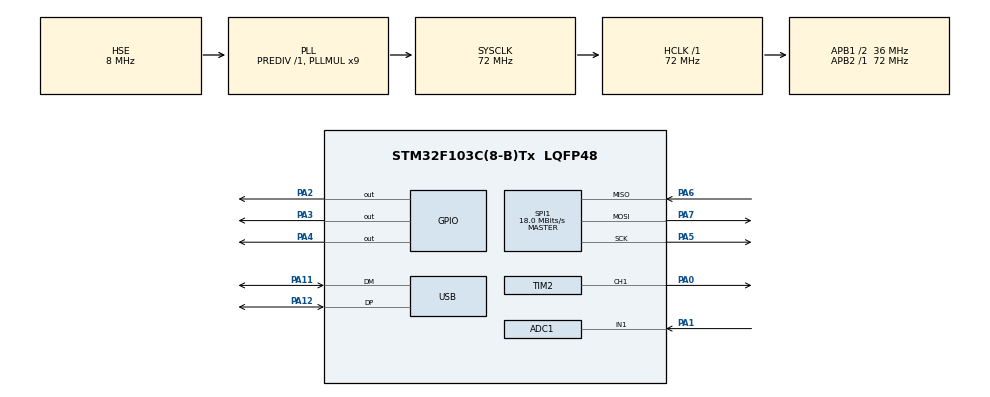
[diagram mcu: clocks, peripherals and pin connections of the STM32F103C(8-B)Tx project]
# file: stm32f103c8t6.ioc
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ADC1.Channel-0\#ChannelRegularConversion=ADC_CHANNEL_1
ADC1.NbrOfConversionFlag=1
ADC1.Rank-0\#ChannelRegularConversion=1
ADC1.SamplingTime-0\#ChannelRegularConversion=ADC_SAMPLETIME_1CYCLE_5
ADC1.master=1
Dma.Request0=SPI1_RX
Dma.Request1=SPI1_TX
Dma.SPI1_RX.0.Direction=DMA_PERIPH_TO_MEMORY
Dma.SPI1_RX.0.Instance=DMA1_Channel2
Dma.SPI1_RX.0.MemDataAlignment=DMA_MDATAALIGN_BYTE
Dma.SPI1_RX.0.MemInc=DMA_MINC_ENABLE
Dma.SPI1_RX.0.Mode=DMA_NORMAL
Dma.SPI1_RX.0.PeriphDataAlignment=DMA_PDATAALIGN_BYTE
Dma.SPI1_RX.0.PeriphInc=DMA_PINC_DISABLE
Dma.SPI1_RX.0.Priority=DMA_PRIORITY_LOW
Dma.SPI1_TX.1.Direction=DMA_MEMORY_TO_PERIPH
Dma.SPI1_TX.1.Instance=DMA1_Channel3
Dma.SPI1_TX.1.MemDataAlignment=DMA_MDATAALIGN_BYTE
Dma.SPI1_TX.1.MemInc=DMA_MINC_ENABLE
Dma.SPI1_TX.1.Mode=DMA_NORMAL
Dma.SPI1_TX.1.PeriphDataAlignment=DMA_PDATAALIGN_BYTE
Dma.SPI1_TX.1.PeriphInc=DMA_PINC_DISABLE
Dma.SPI1_TX.1.Priority=DMA_PRIORITY_LOW
Mcu.Family=STM32F1
Mcu.Name=STM32F103C(8-B)Tx
Mcu.Package=LQFP48
NVIC.DMA1_Channel2_IRQn=true\:0\:0\:false\:false\:true
NVIC.DMA1_Channel3_IRQn=true\:0\:0\:false\:false\:true
NVIC.PriorityGroup=NVIC_PRIORITYGROUP_4
NVIC.SPI1_IRQn=true\:0\:0\:false\:false\:true
NVIC.TIM3_IRQn=true\:0\:0\:false\:false\:true
NVIC.TIM4_IRQn=true\:0\:0\:false\:false\:true
NVIC.USB_LP_CAN1_RX0_IRQn=true\:0\:0\:false\:false\:true
PA0-WKUP.GPIO_Speed=GPIO_SPEED_FREQ_HIGH
PA0-WKUP.Signal=S_TIM2_CH1_ETR
PA1.Signal=ADCx_IN1
PA11.Mode=Device
PA11.Signal=USB_DM
PA12.Mode=Device
PA12.Signal=USB_DP
PA13.Mode=Serial_Wire
PA13.Signal=SYS_JTMS-SWDIO
PA14.Mode=Serial_Wire
PA14.Signal=SYS_JTCK-SWCLK
PA2.Signal=GPIO_Output
PA3.Signal=GPIO_Output
PA4.GPIO_Speed=GPIO_SPEED_FREQ_MEDIUM
PA4.PinState=GPIO_PIN_RESET
PA4.Signal=GPIO_Output
PA5.Mode=Full_Duplex_Master
PA5.Signal=SPI1_SCK
PA6.Mode=Full_Duplex_Master
PA6.Signal=SPI1_MISO
PA7.Mode=Full_Duplex_Master
PA7.Signal=SPI1_MOSI
PD0-OSC_IN.Mode=HSE-External-Oscillator
PD0-OSC_IN.Signal=RCC_OSC_IN
PD1-OSC_OUT.Mode=HSE-External-Oscillator
PD1-OSC_OUT.Signal=RCC_OSC_OUT
ProjectManager.HeapSize=0x200
ProjectManager.StackSize=0x400
ProjectManager.TargetToolchain=SW4STM32
RCC.ADCPresc=RCC_ADCPCLK2_DIV6
RCC.AHBFreq_Value=72000000
RCC.APB1CLKDivider=RCC_HCLK_DIV2
RCC.APB1Freq_Value=36000000
RCC.APB1TimFreq_Value=72000000
RCC.APB2Freq_Value=72000000
RCC.APB2TimFreq_Value=72000000
RCC.HCLKFreq_Value=72000000
RCC.PLLMUL=RCC_PLL_MUL9
RCC.PLLSourceVirtual=RCC_PLLSOURCE_HSE
RCC.SYSCLKFreq_VALUE=72000000
RCC.SYSCLKSource=RCC_SYSCLKSOURCE_PLLCLK
RCC.USBFreq_Value=48000000
RCC.USBPrescaler=RCC_USBCLKSOURCE_PLL_DIV1_5
SH.ADCx_IN1.0=ADC1_IN1,IN1
SH.S_TIM2_CH1_ETR.0=TIM2_CH1,PWM Generation1 CH1
SPI1.BaudRatePrescaler=SPI_BAUDRATEPRESCALER_4
SPI1.CalculateBaudRate=18.0 MBits/s
SPI1.Direction=SPI_DIRECTION_2LINES
SPI1.Mode=SPI_MODE_MASTER
SPI1.VirtualType=VM_MASTER
TIM2.Channel-PWM\ Generation1\ CH1=TIM_CHANNEL_1
TIM2.Period=1880-1
TIM2.Pulse-PWM\ Generation1\ CH1=940
TIM3.Period=(500-1)
TIM3.Prescaler=(72-1)
TIM3.TIM_MasterOutputTrigger=TIM_TRGO_UPDATE
TIM3.TIM_MasterSlaveMode=TIM_MASTERSLAVEMODE_DISABLE
TIM4.Period=(1880-1)
TIM4.Prescaler=0
TIM4.TIM_MasterOutputTrigger=TIM_TRGO_OC1
USB_DEVICE.CLASS_NAME_FS=CDC
USB_DEVICE.VirtualMode=Cdc
USB_DEVICE.VirtualModeFS=Cdc_FS
VP_CRC_VS_CRC.Mode=CRC_Activate
VP_TIM2_VS_ClockSourceINT.Mode=Internal
VP_TIM3_VS_ClockSourceINT.Mode=Internal
VP_TIM4_VS_ClockSourceINT.Mode=Internal
VP_USB_DEVICE_VS_USB_DEVICE_CDC_FS.Mode=CDC_FS
board=stm32f103c8t6

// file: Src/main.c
/**
  ******************************************************************************
  * File Name          : main.c
  * Description        : Main program body
  ******************************************************************************
  * This notice applies to any and all portions of this file
  * that are not between comment pairs USER CODE BEGIN and
  * USER CODE END. Other portions of this file, whether
  * inserted by the user or by software development tools
  * are owned by their respective copyright owners.
  *
  * Copyright (c) 2017 STMicroelectronics International N.V.
  * All rights reserved.
  *
  * Redistribution and use in source and binary forms, with or without
  * modification, are permitted, provided that the following conditions are met:
  *
  * 1. Redistribution of source code must retain the above copyright notice,
  *    this list of conditions and the following disclaimer.
  * 2. Redistributions in binary form must reproduce the above copyright notice,
  *    this list of conditions and the following disclaimer in the documentation
  *    and/or other materials provided with the distribution.
  * 3. Neither the name of STMicroelectronics nor the names of other
  *    contributors to this software may be used to endorse or promote products
  *    derived from this software without specific written permission.
  * 4. This software, including modifications and/or derivative works of this
  *    software, must execute solely and exclusively on microcontroller or
  *    microprocessor devices manufactured by or for STMicroelectronics.
  * 5. Redistribution and use of this software other than as permitted under
  *    this license is void and will automatically terminate your rights under
  *    this license.
  *
  * THIS SOFTWARE IS PROVIDED BY STMICROELECTRONICS AND CONTRIBUTORS "AS IS"
  * AND ANY EXPRESS, IMPLIED OR STATUTORY WARRANTIES, INCLUDING, BUT NOT
  * LIMITED TO, THE IMPLIED WARRANTIES OF MERCHANTABILITY, FITNESS FOR A
  * PARTICULAR PURPOSE AND NON-INFRINGEMENT OF THIRD PARTY INTELLECTUAL PROPERTY
  * RIGHTS ARE DISCLAIMED TO THE FULLEST EXTENT PERMITTED BY LAW. IN NO EVENT
  * SHALL STMICROELECTRONICS OR CONTRIBUTORS BE LIABLE FOR ANY DIRECT, INDIRECT,
  * INCIDENTAL, SPECIAL, EXEMPLARY, OR CONSEQUENTIAL DAMAGES (INCLUDING, BUT NOT
  * LIMITED TO, PROCUREMENT OF SUBSTITUTE GOODS OR SERVICES; LOSS OF USE, DATA,
  * OR PROFITS; OR BUSINESS INTERRUPTION) HOWEVER CAUSED AND ON ANY THEORY OF
  * LIABILITY, WHETHER IN CONTRACT, STRICT LIABILITY, OR TORT (INCLUDING
  * NEGLIGENCE OR OTHERWISE) ARISING IN ANY WAY OUT OF THE USE OF THIS SOFTWARE,
  * EVEN IF ADVISED OF THE POSSIBILITY OF SUCH DAMAGE.
  *
  ******************************************************************************
  */
#include "main.h"
#include "stm32f1xx_hal.h"
#include "usb_device.h"

/* USER CODE BEGIN Includes */
#include "infrared.h"
#include "se8r01.h"
#include <stdbool.h>

#define USE_OLD_MAPPING 1
#include "common.h"

//#include <string>

/* USER CODE END Includes */

ADC_HandleTypeDef hadc1;

CRC_HandleTypeDef hcrc;

SPI_HandleTypeDef hspi1;
DMA_HandleTypeDef hdma_spi1_rx;
DMA_HandleTypeDef hdma_spi1_tx;

TIM_HandleTypeDef htim2;
TIM_HandleTypeDef htim3;
TIM_HandleTypeDef htim4;

/* USER CODE BEGIN PV */
/* Private variables ---------------------------------------------------------*/

// TODO: cleanup when done debugging
const bool _debug = true;
TIM_HandleTypeDef *const phtim_envelop = &htim3;
TIM_HandleTypeDef *const phtim_pwm = &htim2;
const uint32_t pwm_tim_channel = TIM_CHANNEL_1;
TIM_HandleTypeDef *const phtim_delay = &htim4;

/// interface with radio
extern NRF_Module default_module;
extern NRF_Module data_module;

extern RadioMessage tx_message;
extern RadioDevInfo radiodevinfo;
extern SensorData sensordata;

/* USER CODE END PV */

void SystemClock_Config(void);
static void MX_GPIO_Init(void);
static void MX_DMA_Init(void);
static void MX_CRC_Init(void);
static void MX_SPI1_Init(void);
static void MX_TIM3_Init(void);
static void MX_TIM4_Init(void);
static void MX_TIM2_Init(void);
static void MX_ADC1_Init(void);

void HAL_TIM_MspPostInit(TIM_HandleTypeDef *htim);

/* USER CODE BEGIN PFP */
/* Private function prototypes -----------------------------------------------*/
void IR_TIM_Init(TIM_HandleTypeDef *p_envelop, TIM_HandleTypeDef *p_pwm);

void test_stuff();

/* USER CODE END PFP */

/* USER CODE BEGIN 0 */

const char mode = 'r'; // 't'
/* USER CODE END 0 */

int main(void) {

  /* USER CODE BEGIN 1 */
  bool is_transmitter = (mode == 't');
  bool is_receiver = !is_transmitter;

  /* USER CODE END 1 */

  /* MCU
   * Configuration----------------------------------------------------------*/

  /* Reset of all peripherals, Initializes the Flash interface and the Systick.
   */
  HAL_Init();

  /* Configure the system clock */
  SystemClock_Config();

  /* Initialize all configured peripherals */
  MX_GPIO_Init();
  MX_DMA_Init();
  MX_CRC_Init();
  MX_SPI1_Init();
  MX_TIM3_Init();
  MX_TIM4_Init();
  MX_TIM2_Init();
  MX_ADC1_Init();
  MX_USB_DEVICE_Init();

  /* USER CODE BEGIN 2 */
  HAL_ADCEx_Calibration_Start(&hadc1);

  // TODO fix IR_TIM_Init function
  /// IR_TIM_Init(phtim_envelop, phtim_pwm);
  // init_beamer_channels_gpio();

  /*Configure GPIO pin Output Level */
  bool use_shiftreg = false;
  if (use_shiftreg) {
    configure_gpio_shiftreg();
  }

  bool use_radio = false;
  if (use_radio) {
    configure_gpio_radio();
    setup(&default_module);
  }
  // envelop
  /// HAL_TIM_Base_Start_IT(phtim_envelop);
  // pwm
  HAL_TIM_PWM_Start(phtim_pwm, TIM_CHANNEL_1);

  // TODO: this is requred. Refactor to avoid possible mistakes in the future
  // start usec delay timer
  HAL_TIM_Base_Start(phtim_delay);
  // TODO: make more clean TODOs in the future. What the heck is required?!

  /* USER CODE END 2 */

  /* Infinite loop */
  /* USER CODE BEGIN WHILE */
  // prepare buffer for sending over USB
  const char *helloworld_str = "hello world!\n";
  uint8_t buf[4] = {0};

  while (1) {

    // test_stuff();

    HAL_ADC_Start(&hadc1);
    while (HAL_ADC_PollForConversion(&hadc1, 100)) {
    }
    auto adc_val = HAL_ADC_GetValue(&hadc1);
    HAL_ADC_Stop(&hadc1);
    if (adc_val < 500) {
      int a = 0;
    }

    HAL_GPIO_TogglePin(LED_ONBOARD_Port, LED_ONBOARD_Pin);
    HAL_Delay(adc_val / 100);

    // auto str = std::to_string(adc_val).c_str();
    // CDC_Transmit_FS(&str, sizeof(str));

    /* USER CODE END WHILE */

  }
}

/** System Clock Configuration
*/
void SystemClock_Config(void) {

  RCC_OscInitTypeDef RCC_OscInitStruct;
  RCC_ClkInitTypeDef RCC_ClkInitStruct;
  RCC_PeriphCLKInitTypeDef PeriphClkInit;

  /**Initializes the CPU, AHB and APB busses clocks
  */
  RCC_OscInitStruct.OscillatorType = RCC_OSCILLATORTYPE_HSE;
  RCC_OscInitStruct.HSEState = RCC_HSE_ON;
  RCC_OscInitStruct.HSEPredivValue = RCC_HSE_PREDIV_DIV1;
  RCC_OscInitStruct.HSIState = RCC_HSI_ON;
  RCC_OscInitStruct.PLL.PLLState = RCC_PLL_ON;
  RCC_OscInitStruct.PLL.PLLSource = RCC_PLLSOURCE_HSE;
  RCC_OscInitStruct.PLL.PLLMUL = RCC_PLL_MUL9;
  if (HAL_RCC_OscConfig(&RCC_OscInitStruct) != HAL_OK) {
    _Error_Handler(__FILE__, __LINE__);
  }

  /**Initializes the CPU, AHB and APB busses clocks
  */
  RCC_ClkInitStruct.ClockType = RCC_CLOCKTYPE_HCLK | RCC_CLOCKTYPE_SYSCLK |
                                RCC_CLOCKTYPE_PCLK1 | RCC_CLOCKTYPE_PCLK2;
  RCC_ClkInitStruct.SYSCLKSource = RCC_SYSCLKSOURCE_PLLCLK;
  RCC_ClkInitStruct.AHBCLKDivider = RCC_SYSCLK_DIV1;
  RCC_ClkInitStruct.APB1CLKDivider = RCC_HCLK_DIV2;
  RCC_ClkInitStruct.APB2CLKDivider = RCC_HCLK_DIV1;

  if (HAL_RCC_ClockConfig(&RCC_ClkInitStruct, FLASH_LATENCY_2) != HAL_OK) {
    _Error_Handler(__FILE__, __LINE__);
  }

  PeriphClkInit.PeriphClockSelection = RCC_PERIPHCLK_ADC | RCC_PERIPHCLK_USB;
  PeriphClkInit.AdcClockSelection = RCC_ADCPCLK2_DIV6;
  PeriphClkInit.UsbClockSelection = RCC_USBCLKSOURCE_PLL_DIV1_5;
  if (HAL_RCCEx_PeriphCLKConfig(&PeriphClkInit) != HAL_OK) {
    _Error_Handler(__FILE__, __LINE__);
  }

  /**Configure the Systick interrupt time
  */
  HAL_SYSTICK_Config(HAL_RCC_GetHCLKFreq() / 1000);

  /**Configure the Systick
  */
  HAL_SYSTICK_CLKSourceConfig(SYSTICK_CLKSOURCE_HCLK);

  /* SysTick_IRQn interrupt configuration */
  HAL_NVIC_SetPriority(SysTick_IRQn, 0, 0);
}

/* ADC1 init function */
static void MX_ADC1_Init(void) {

  ADC_ChannelConfTypeDef sConfig;

  /**Common config
  */
  hadc1.Instance = ADC1;
  hadc1.Init.ScanConvMode = ADC_SCAN_DISABLE;
  hadc1.Init.ContinuousConvMode = DISABLE;
  hadc1.Init.DiscontinuousConvMode = DISABLE;
  hadc1.Init.ExternalTrigConv = ADC_SOFTWARE_START;
  hadc1.Init.DataAlign = ADC_DATAALIGN_RIGHT;
  hadc1.Init.NbrOfConversion = 1;
  if (HAL_ADC_Init(&hadc1) != HAL_OK) {
    _Error_Handler(__FILE__, __LINE__);
  }

  /**Configure Regular Channel
  */
  sConfig.Channel = ADC_CHANNEL_1;
  sConfig.Rank = 1;
  sConfig.SamplingTime = ADC_SAMPLETIME_1CYCLE_5;
  if (HAL_ADC_ConfigChannel(&hadc1, &sConfig) != HAL_OK) {
    _Error_Handler(__FILE__, __LINE__);
  }
}

/* CRC init function */
static void MX_CRC_Init(void) {

  hcrc.Instance = CRC;
  if (HAL_CRC_Init(&hcrc) != HAL_OK) {
    _Error_Handler(__FILE__, __LINE__);
  }
}

/* SPI1 init function */
static void MX_SPI1_Init(void) {

  hspi1.Instance = SPI1;
  hspi1.Init.Mode = SPI_MODE_MASTER;
  hspi1.Init.Direction = SPI_DIRECTION_2LINES;
  hspi1.Init.DataSize = SPI_DATASIZE_8BIT;
  hspi1.Init.CLKPolarity = SPI_POLARITY_LOW;
  hspi1.Init.CLKPhase = SPI_PHASE_1EDGE;
  hspi1.Init.NSS = SPI_NSS_SOFT;
  hspi1.Init.BaudRatePrescaler = SPI_BAUDRATEPRESCALER_4;
  hspi1.Init.FirstBit = SPI_FIRSTBIT_MSB;
  hspi1.Init.TIMode = SPI_TIMODE_DISABLE;
  hspi1.Init.CRCCalculation = SPI_CRCCALCULATION_DISABLE;
  hspi1.Init.CRCPolynomial = 10;
  if (HAL_SPI_Init(&hspi1) != HAL_OK) {
    _Error_Handler(__FILE__, __LINE__);
  }
}

/* TIM2 init function */
static void MX_TIM2_Init(void) {

  TIM_ClockConfigTypeDef sClockSourceConfig;
  TIM_MasterConfigTypeDef sMasterConfig;
  TIM_OC_InitTypeDef sConfigOC;

  htim2.Instance = TIM2;
  htim2.Init.Prescaler = 0;
  htim2.Init.CounterMode = TIM_COUNTERMODE_UP;
  htim2.Init.Period = 1880 - 1;
  htim2.Init.ClockDivision = TIM_CLOCKDIVISION_DIV1;
  if (HAL_TIM_Base_Init(&htim2) != HAL_OK) {
    _Error_Handler(__FILE__, __LINE__);
  }

  sClockSourceConfig.ClockSource = TIM_CLOCKSOURCE_INTERNAL;
  if (HAL_TIM_ConfigClockSource(&htim2, &sClockSourceConfig) != HAL_OK) {
    _Error_Handler(__FILE__, __LINE__);
  }

  if (HAL_TIM_PWM_Init(&htim2) != HAL_OK) {
    _Error_Handler(__FILE__, __LINE__);
  }

  sMasterConfig.MasterOutputTrigger = TIM_TRGO_RESET;
  sMasterConfig.MasterSlaveMode = TIM_MASTERSLAVEMODE_DISABLE;
  if (HAL_TIMEx_MasterConfigSynchronization(&htim2, &sMasterConfig) != HAL_OK) {
    _Error_Handler(__FILE__, __LINE__);
  }

  sConfigOC.OCMode = TIM_OCMODE_PWM1;
  sConfigOC.Pulse = 940;
  sConfigOC.OCPolarity = TIM_OCPOLARITY_HIGH;
  sConfigOC.OCFastMode = TIM_OCFAST_DISABLE;
  if (HAL_TIM_PWM_ConfigChannel(&htim2, &sConfigOC, TIM_CHANNEL_1) != HAL_OK) {
    _Error_Handler(__FILE__, __LINE__);
  }

  HAL_TIM_MspPostInit(&htim2);
}

/* TIM3 init function */
static void MX_TIM3_Init(void) {

  TIM_ClockConfigTypeDef sClockSourceConfig;
  TIM_MasterConfigTypeDef sMasterConfig;

  htim3.Instance = TIM3;
  htim3.Init.Prescaler = (72 - 1);
  htim3.Init.CounterMode = TIM_COUNTERMODE_UP;
  htim3.Init.Period = (500 - 1);
  htim3.Init.ClockDivision = TIM_CLOCKDIVISION_DIV1;
  if (HAL_TIM_Base_Init(&htim3) != HAL_OK) {
    _Error_Handler(__FILE__, __LINE__);
  }

  sClockSourceConfig.ClockSource = TIM_CLOCKSOURCE_INTERNAL;
  if (HAL_TIM_ConfigClockSource(&htim3, &sClockSourceConfig) != HAL_OK) {
    _Error_Handler(__FILE__, __LINE__);
  }

  sMasterConfig.MasterOutputTrigger = TIM_TRGO_UPDATE;
  sMasterConfig.MasterSlaveMode = TIM_MASTERSLAVEMODE_DISABLE;
  if (HAL_TIMEx_MasterConfigSynchronization(&htim3, &sMasterConfig) != HAL_OK) {
    _Error_Handler(__FILE__, __LINE__);
  }
}

/* TIM4 init function */
static void MX_TIM4_Init(void) {

  TIM_ClockConfigTypeDef sClockSourceConfig;
  TIM_MasterConfigTypeDef sMasterConfig;

  htim4.Instance = TIM4;
  htim4.Init.Prescaler = 0;
  htim4.Init.CounterMode = TIM_COUNTERMODE_UP;
  htim4.Init.Period = (1880 - 1);
  htim4.Init.ClockDivision = TIM_CLOCKDIVISION_DIV1;
  if (HAL_TIM_Base_Init(&htim4) != HAL_OK) {
    _Error_Handler(__FILE__, __LINE__);
  }

  sClockSourceConfig.ClockSource = TIM_CLOCKSOURCE_INTERNAL;
  if (HAL_TIM_ConfigClockSource(&htim4, &sClockSourceConfig) != HAL_OK) {
    _Error_Handler(__FILE__, __LINE__);
  }

  sMasterConfig.MasterOutputTrigger = TIM_TRGO_OC1;
  sMasterConfig.MasterSlaveMode = TIM_MASTERSLAVEMODE_DISABLE;
  if (HAL_TIMEx_MasterConfigSynchronization(&htim4, &sMasterConfig) != HAL_OK) {
    _Error_Handler(__FILE__, __LINE__);
  }
}

static void MX_DMA_Init(void) {
  /* DMA controller clock enable */
  __HAL_RCC_DMA1_CLK_ENABLE();

  /* DMA interrupt init */
  /* DMA1_Channel2_IRQn interrupt configuration */
  HAL_NVIC_SetPriority(DMA1_Channel2_IRQn, 0, 0);
  HAL_NVIC_EnableIRQ(DMA1_Channel2_IRQn);
  /* DMA1_Channel3_IRQn interrupt configuration */
  HAL_NVIC_SetPriority(DMA1_Channel3_IRQn, 0, 0);
  HAL_NVIC_EnableIRQ(DMA1_Channel3_IRQn);
}

/** Configure pins as
        * Analog
        * Input
        * Output
        * EVENT_OUT
        * EXTI
*/
static void MX_GPIO_Init(void) {

  GPIO_InitTypeDef GPIO_InitStruct;

  /* GPIO Ports Clock Enable */
  __HAL_RCC_GPIOD_CLK_ENABLE();
  __HAL_RCC_GPIOA_CLK_ENABLE();

  /*Configure GPIO pin Output Level */
  HAL_GPIO_WritePin(GPIOA, GPIO_PIN_2 | GPIO_PIN_3 | GPIO_PIN_4,
                    GPIO_PIN_RESET);

  /*Configure GPIO pins : PA2 PA3 */
  GPIO_InitStruct.Pin = GPIO_PIN_2 | GPIO_PIN_3;
  GPIO_InitStruct.Mode = GPIO_MODE_OUTPUT_PP;
  GPIO_InitStruct.Speed = GPIO_SPEED_FREQ_LOW;
  HAL_GPIO_Init(GPIOA, &GPIO_InitStruct);

  /*Configure GPIO pin : PA4 */
  GPIO_InitStruct.Pin = GPIO_PIN_4;
  GPIO_InitStruct.Mode = GPIO_MODE_OUTPUT_PP;
  GPIO_InitStruct.Speed = GPIO_SPEED_FREQ_MEDIUM;
  HAL_GPIO_Init(GPIOA, &GPIO_InitStruct);
}

/* USER CODE BEGIN 4 */

void IR_TIM_Init(TIM_HandleTypeDef *p_envelop, TIM_HandleTypeDef *p_pwm) {
  p_envelop->Init.Period = pwm_timer_period;
  HAL_TIM_Base_Init(p_envelop);

  p_pwm->Init.Prescaler = envelop_timer_prescaler;
  p_pwm->Init.Period = DataBitLength;
  HAL_TIM_Base_Init(p_pwm);
}

void test_stuff() {

  uint8_t led8_array[8] = {
      0b00000001, // 1
      0b00000010, // 2
      0b00000100, // 3
      0b00001000, // 4
      0b00010000, // 5
      0b00100000, // 6
      0b01000000, // 7
      0b10000000, // 8
  };
  uint16_t led16_array[16] = {
      0b0000000000000001, // 1
      0b0000000000000010, // 2
      0b0000000000000100, // 3
      0b0000000000001000, // 4
      0b0000000000010000, // 5
      0b0000000000100000, // 6
      0b0000000001000000, // 7
      0b0000000010000000, // 8
      0b0000000100000000, // 9
      0b0000001000000000, // 10
      0b0000010000000000, // 11
      0b0000100000000000, // 12
      0b0001000000000000, // 13
      0b0010000000000000, // 14
      0b0100000000000000, // 15
      0b1000000000000000, // 16
  };
  uint16_t led16_array_tmp[8] = {
      0b1010101010101010, // 1
      0b1001001001001001, // 2
      0b1000100010001000, // 3
      0b1000010000100001, // 4
      0b0000000000010000, // 5
      0b0000000000100000, // 6
      0b0000000001000000, // 7
      0b0000000010000000, // 8
  };
  uint8_t led_num = 0;
  uint16_t test_msg = 0b1010101010101010;

  /*
  /// check SPI module by reading status register from radio module
  uint8_t s_reg = iRF_BANK0_STATUS;
  uint8_t S = 0;
  HAL_GPIO_WritePin(NRF24_CSN1_Port, NRF24_CSN1_Pin, LOW);           // CSN low,
  initialize SPI communication...
  HAL_SPI_TransmitReceive_IT(&hspi1, &s_reg, &S, 1);
  uint8_t reg_val = HAL_SPI_TransmitReceive_IT(&hspi1, 0, &S, 1);
  HAL_GPIO_WritePin(NRF24_CSN1_Port, NRF24_CSN1_Pin, HIGH);          // CSN
  high, terminate SPI communication
    */

  /// test spi for shift register
  /// shiftreg_send_16bit_data(test_msg);
  /// HAL_Delay(10);

  /*
if(use_shiftreg)
  {
    if(led_num == 16)
      led_num = 0;
    else
      led_num++;
      shiftreg_send_16bit_data(led16_array[led_num]);
  }
  */
  for (int i = 0; i < 16; ++i) {
    shiftreg_send_16bit_data(led16_array[i]);
    HAL_Delay(10);
  }

/*
if(is_receiver && false){
    RXX(&default_module);// - this is called on IRQ
}
else{
      //=================== prepare message for sending
      // Determine source of packet
      radio_tx_set_message_header(WhoAmI_Beamer, Dest_Sensor, Typ_SensorData);

      BeamerData beamerdata;
      SingleBeamerData data;
      data.angle = 10;
      data.beamer_id = 12;
      for(int i = 0; i < MAX_BEAMERS_PER_SENSOR; ++i ){
          beamerdata.beamer_data_array[i] = data;
      }

      sensordata.sensor_id = data.beamer_id;
      set_sensordata_type (&sensordata, SDT_BeamerData);
      set_sensor_data_beamer (&sensordata, &beamerdata);

      radio_tx_set_sensordata(&sensordata);
      //=====================

      HAL_Delay (1000);
    TXX(&default_module);
}
*/

#if 0 // TODO
init_data();
sensor_send_data();
#endif
}

void TIM2_Init_pprev(void) {

  TIM_ClockConfigTypeDef sClockSourceConfig;
  TIM_MasterConfigTypeDef sMasterConfig;

  htim2.Instance = TIM2;
  htim2.Init.Prescaler = 0;
  htim2.Init.CounterMode = TIM_COUNTERMODE_UP;
  htim2.Init.Period = 0;
  htim2.Init.ClockDivision = TIM_CLOCKDIVISION_DIV1;
  HAL_TIM_Base_Init(&htim2);

  sClockSourceConfig.ClockSource = TIM_CLOCKSOURCE_INTERNAL;
  HAL_TIM_ConfigClockSource(&htim2, &sClockSourceConfig);

  sMasterConfig.MasterOutputTrigger = TIM_TRGO_RESET;
  sMasterConfig.MasterSlaveMode = TIM_MASTERSLAVEMODE_DISABLE;
  HAL_TIMEx_MasterConfigSynchronization(&htim2, &sMasterConfig);
}

void TIM3_Init_prev(void) {

  TIM_ClockConfigTypeDef sClockSourceConfig;
  TIM_MasterConfigTypeDef sMasterConfig;

  htim3.Instance = TIM3;
  htim3.Init.Prescaler = (72 - 1);
  htim3.Init.CounterMode = TIM_COUNTERMODE_UP;
  htim3.Init.Period = (500 - 1);
  htim3.Init.ClockDivision = TIM_CLOCKDIVISION_DIV1;
  HAL_TIM_Base_Init(&htim3);

  sClockSourceConfig.ClockSource = TIM_CLOCKSOURCE_INTERNAL;
  HAL_TIM_ConfigClockSource(&htim3, &sClockSourceConfig);

  sMasterConfig.MasterOutputTrigger = TIM_TRGO_UPDATE;
  sMasterConfig.MasterSlaveMode = TIM_MASTERSLAVEMODE_DISABLE;
  HAL_TIMEx_MasterConfigSynchronization(&htim3, &sMasterConfig);
}

void TIM4_Init_prev(void) {

  TIM_ClockConfigTypeDef sClockSourceConfig;
  TIM_MasterConfigTypeDef sMasterConfig;
  TIM_OC_InitTypeDef sConfigOC;

  htim4.Instance = TIM4;
  htim4.Init.Prescaler = 0;
  htim4.Init.CounterMode = TIM_COUNTERMODE_UP;
  htim4.Init.Period = (1880 - 1);
  htim4.Init.ClockDivision = TIM_CLOCKDIVISION_DIV1;
  HAL_TIM_Base_Init(&htim4);

  sClockSourceConfig.ClockSource = TIM_CLOCKSOURCE_INTERNAL;
  HAL_TIM_ConfigClockSource(&htim4, &sClockSourceConfig);

  HAL_TIM_PWM_Init(&htim4);

  sMasterConfig.MasterOutputTrigger = TIM_TRGO_OC1;
  sMasterConfig.MasterSlaveMode = TIM_MASTERSLAVEMODE_DISABLE;
  HAL_TIMEx_MasterConfigSynchronization(&htim4, &sMasterConfig);

  sConfigOC.OCMode = TIM_OCMODE_PWM1;
  sConfigOC.Pulse = (940 - 1);
  sConfigOC.OCPolarity = TIM_OCPOLARITY_HIGH;
  sConfigOC.OCFastMode = TIM_OCFAST_DISABLE;
  HAL_TIM_PWM_ConfigChannel(&htim4, &sConfigOC, TIM_CHANNEL_4);

  HAL_TIM_MspPostInit(&htim4);
}

/* USER CODE END 4 */

void _Error_Handler(char *file, int line) {
  while (1) {
  }
}

#ifdef USE_FULL_ASSERT

/**
   * @brief Reports the name of the source file and the source line number
   * where the assert_param error has occurred.
   * @param file: pointer to the source file name
   * @param line: assert_param error line source number
   * @retval None
   */
void assert_failed(uint8_t *file, uint32_t line) {
  /* USER CODE BEGIN 6 */
  /* User can add his own implementation to report the file name and line
    number,
    ex: printf("Wrong parameters value: file %s on line %d\r\n", file, line) */
  /* USER CODE END 6 */
}

#endif

/************************ (C) COPYRIGHT STMicroelectronics *****END OF FILE****/
